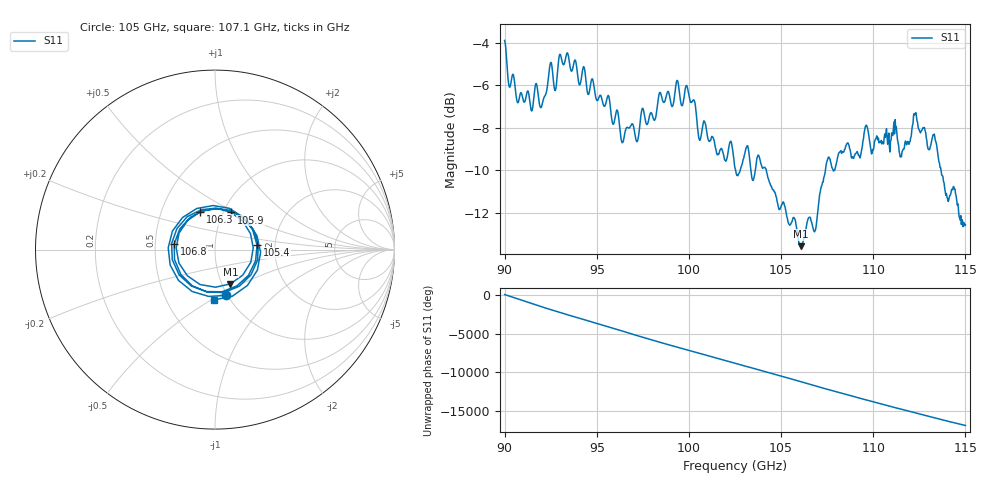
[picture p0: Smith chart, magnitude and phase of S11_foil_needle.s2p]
!Agilent Technologies,E8363B,MY43030303,A.07.50.37
!Agilent E8363B: A.07.50.37
!Date: Thursday, February 02, 2012 04:01:36
!Correction: S11(Off)
!S21(Off)
!S12(Off)
!S22(Off)
!S2P File: Measurements: S11, S21, S12, S22:
# Hz S  dB  R 50
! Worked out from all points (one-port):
!   801 points, 90 GHz to 115 GHz, reference 50 ohm
!   lowest |S11| = -13.6 dB at 106.1 GHz (marker M1), VSWR 1.53, Z = 54.8 - j21.9 ohm
!   |S11| at or under -10 dB: 102.5325 GHz to 102.7857 GHz (253.2 MHz wide, 0.247 % of centre); 104.2 GHz to 107.4 GHz (3.209 GHz wide, 3.03 % of centre); 113.7 GHz to end of sweep (the widest 3 of 5)
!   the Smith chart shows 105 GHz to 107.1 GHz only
!   S11 on the Smith chart (normalised r, x): 105 GHz: 0.98, -0.54; 105.4 GHz: 1.61, +0.09; 105.9 GHz: 1.09, +0.47; 106.3 GHz: 0.78, +0.35; 106.8 GHz: 0.63, +0.04; 107.1 GHz: 0.84, -0.51
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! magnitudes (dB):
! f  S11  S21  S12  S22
! 90 GHz  -3.9  -  -  -
! 91.47 GHz  -7.2  -  -  -
! 93.03 GHz  -4.6  -  -  -
! 94.19 GHz  -5.5  -  -  -
! 96.41 GHz  -8.7  -  -  -
! 98.34 GHz  -6.6  -  -  -
! 99.91 GHz  -6.1  -  -  -
! 100.6 GHz  -8.6  -  -  -
! 102.5 GHz  -9.9  -  -  -
! 103.8 GHz  -9.4  -  -  -
! 105 GHz  -11.6  -  -  -
! 105.4 GHz  -12.6  -  -  -
! 105.9 GHz  -13.0  -  -  -
! 106.1 GHz  -13.6  -  -  -
! 106.3 GHz  -12.9  -  -  -
! 106.7 GHz  -12.6  -  -  -
! 106.8 GHz  -12.8  -  -  -
! 107.1 GHz  -11.0  -  -  -
! 109.6 GHz  -7.9  -  -  -
! 110.8 GHz  -8.3  -  -  -
! 112.3 GHz  -7.3  -  -  -
! 115 GHz  -12.6  -  -  -
